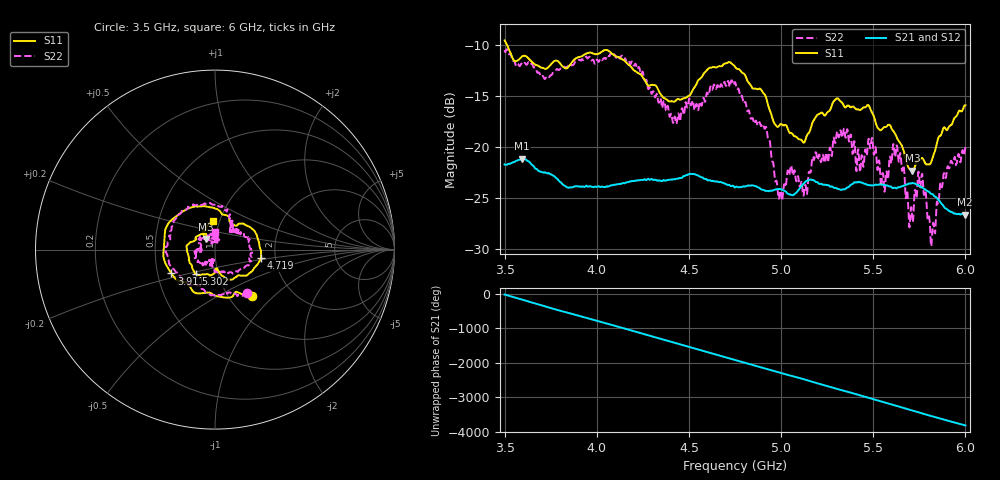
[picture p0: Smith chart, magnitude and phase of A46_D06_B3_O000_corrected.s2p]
! Created with skrf 1.9.0 (http://scikit-rf.org).
# Hz S RI R 50.0
!freq ReS11 ImS11 ReS21 ImS21 ReS12 ImS12 ReS22 ImS22
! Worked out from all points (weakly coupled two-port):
!   1601 points, 3.5 GHz to 6 GHz, reference 50 ohm
!   highest |S21| = -21.17 dB at 3.595 GHz (marker M1); lowest = -26.7 dB at 5.997 GHz (marker M2)
!   lowest |S11| = -22.4 dB at 5.713 GHz (marker M3), VSWR 1.17, Z = 45.1 + j5.34 ohm
!   |S11| at or under -10 dB: 3.513 GHz to end of sweep
!   |S22| runs from -29.8 to -10.4 dB; largest |S21 - S12| = 0.00093
!   S11 on the Smith chart (normalised r, x): 3.5 GHz: 1.28, -0.75; 3.911 GHz: 0.59, -0.17; 4.719 GHz: 1.68, -0.17; 5.302 GHz: 0.78, -0.22; 6 GHz: 0.93, +0.31
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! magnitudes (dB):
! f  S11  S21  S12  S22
! 3.5 GHz  -9.6  -21.7  -21.7  -10.5
! 3.595 GHz  -11.1  -21.2  -21.2  -11.9
! 3.911 GHz  -11.2  -23.9  -23.9  -11.5
! 3.917 GHz  -11.1  -23.9  -23.9  -11.5
! 4.144 GHz  -11.5  -23.6  -23.5  -11.4
! 4.334 GHz  -14.4  -23.3  -23.2  -15.6
! 4.423 GHz  -15.6  -23.2  -23.2  -17.0
! 4.719 GHz  -11.7  -23.7  -23.8  -14.0
! 4.75 GHz  -12.1  -24.0  -23.9  -13.6
! 4.914 GHz  -14.9  -24.3  -24.3  -18.2
! 4.995 GHz  -17.8  -24.1  -24.1  -24.3
! 5.131 GHz  -19.4  -23.5  -23.4  -23.8
! 5.167 GHz  -17.8  -23.3  -23.2  -21.4
! 5.302 GHz  -15.3  -24.1  -24.0  -18.6
! 5.584 GHz  -17.8  -23.9  -23.8  -22.2
! 5.638 GHz  -19.4  -24.0  -23.9  -21.4
! 5.713 GHz  -22.4  -23.6  -23.5  -27.3
! 5.756 GHz  -21.2  -23.9  -23.8  -24.0
! 5.823 GHz  -21.0  -24.7  -24.6  -27.7
! 5.875 GHz  -18.5  -25.7  -25.6  -23.8
! 5.997 GHz  -15.9  -26.7  -26.6  -20.4
! 6 GHz  -15.9  -26.7  -26.6  -20.0
